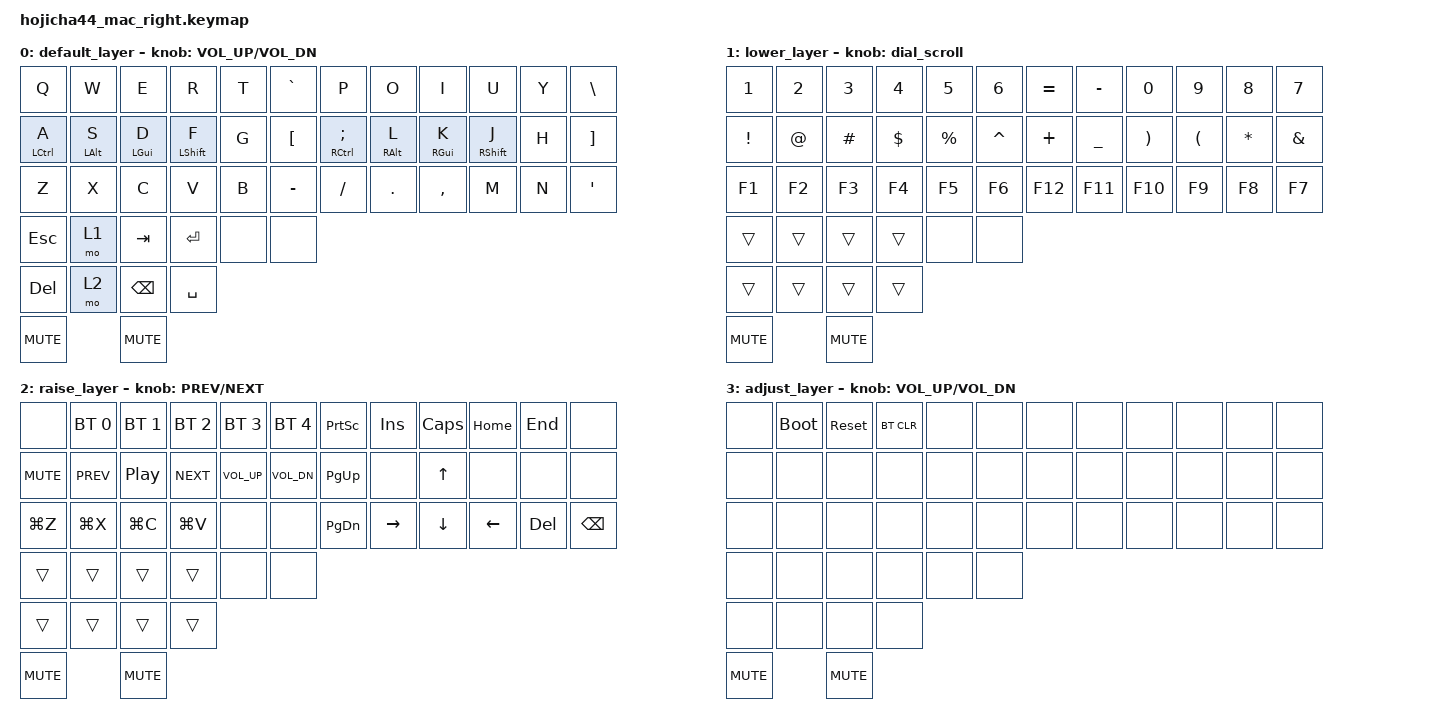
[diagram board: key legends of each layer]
/* Hojicha44 keymap — mac_right variant.
 * GENERATED by config/gen_keymap.py from spec/layout.yaml — DO NOT EDIT.
 *   mod order : Ctrl Alt GUI Shift (macOS: Cmd on the middle)
 *   space     : right thumb (the other carries Enter)
 * Regenerate: python3 config/gen_keymap.py            (all variants)
 * Switch   : python3 config/gen_keymap.py --use mac_right
 * Design   : spec/keymap.md (the narrative for every table below).
 */
#include <behaviors.dtsi>
#include <dt-bindings/zmk/keys.h>
#include <dt-bindings/zmk/bt.h>
#include <dt-bindings/zmk/pointing.h>

/ {
    /* Home-row mods, ZMK's documented "timeless" recipe: balanced flavor,
     * require-prior-idle (fast rolls resolve to taps), a long tapping term
     * (the POSITIONAL triggers decide, not the timer) and positional
     * hold-trigger-key-positions listing the OTHER hand's keys, with
     * hold-trigger-on-release so same-hand modifier combos still work.
     * One behavior per hand so the trigger lists can differ. */
    behaviors {
        dial_scroll: dial_scroll {
            compatible = "zmk,behavior-sensor-rotate";
            #sensor-binding-cells = <0>;
            // 100 wheel units/s at a 16 ms tick gives a whole event.
            tap-ms = <25>;
            bindings = <&msc MOVE_Y(100)>, <&msc MOVE_Y(-100)>;
        };
        hml: home_row_mod_left {
            compatible = "zmk,behavior-hold-tap";
            #binding-cells = <2>;
            flavor = "balanced";
            require-prior-idle-ms = <150>;
            tapping-term-ms = <280>;
            quick-tap-ms = <175>;
            bindings = <&kp>, <&kp>;
            hold-trigger-key-positions = <6 7 8 9 10 11 18 19 20 21 22 23 30 31 32 33 34 35 42 43 44 45>;
            hold-trigger-on-release;
        };
        hmr: home_row_mod_right {
            compatible = "zmk,behavior-hold-tap";
            #binding-cells = <2>;
            flavor = "balanced";
            require-prior-idle-ms = <150>;
            tapping-term-ms = <280>;
            quick-tap-ms = <175>;
            bindings = <&kp>, <&kp>;
            hold-trigger-key-positions = <0 1 2 3 4 5 12 13 14 15 16 17 24 25 26 27 28 29 36 37 38 39>;
            hold-trigger-on-release;
        };
    };

    /* L1 + L2 held together -> Adjust (ZMK conditional layers; this is
     * the "Fn chord" the v1 layout spec called for). */
    conditional_layers {
        compatible = "zmk,conditional-layers";
        adjust_cond {
            if-layers = <1 2>;
            then-layer = <3>;
        };
    };

    keymap {
        compatible = "zmk,keymap";
        label = "Hojicha44";

        default_layer {
            bindings = <
                &kp Q &kp W &kp E &kp R &kp T &kp GRAVE &kp P &kp O &kp I &kp U &kp Y &kp BSLH
                &hml LCTRL A &hml LALT S &hml LGUI D &hml LSHIFT F &kp G &kp LBKT &hmr RCTRL SCLN &hmr RALT L &hmr RGUI K &hmr RSHIFT J &kp H &kp RBKT
                &kp Z &kp X &kp C &kp V &kp B &kp MINUS &kp SLASH &kp DOT &kp COMMA &kp M &kp N &kp SQT
                &kp ESC &mo 1 &kp TAB &kp RET &none &none
                &kp DEL &mo 2 &kp BSPC &kp SPACE
                &kp C_MUTE &kp C_MUTE
            >;
            sensor-bindings = <&inc_dec_kp C_VOL_UP C_VOL_DN>;
        };
        lower_layer {
            bindings = <
                &kp N1 &kp N2 &kp N3 &kp N4 &kp N5 &kp N6 &kp EQUAL &kp MINUS &kp N0 &kp N9 &kp N8 &kp N7
                &kp EXCL &kp AT &kp HASH &kp DLLR &kp PRCNT &kp CARET &kp PLUS &kp UNDERSCORE &kp RPAR &kp LPAR &kp ASTRK &kp AMPS
                &kp F1 &kp F2 &kp F3 &kp F4 &kp F5 &kp F6 &kp F12 &kp F11 &kp F10 &kp F9 &kp F8 &kp F7
                &trans &trans &trans &trans &none &none
                &trans &trans &trans &trans
                &kp C_MUTE &kp C_MUTE
            >;
            sensor-bindings = <&dial_scroll>;
        };
        raise_layer {
            bindings = <
                &none &bt BT_SEL 0 &bt BT_SEL 1 &bt BT_SEL 2 &bt BT_SEL 3 &bt BT_SEL 4 &kp PSCRN &kp INS &kp CLCK &kp HOME &kp END &none
                &kp C_MUTE &kp C_PREV &kp C_PP &kp C_NEXT &kp C_VOL_UP &kp C_VOL_DN &kp PG_UP &none &kp UP &none &none &none
                &kp LG(Z) &kp LG(X) &kp LG(C) &kp LG(V) &none &none &kp PG_DN &kp RIGHT &kp DOWN &kp LEFT &kp DEL &kp BSPC
                &trans &trans &trans &trans &none &none
                &trans &trans &trans &trans
                &kp C_MUTE &kp C_MUTE
            >;
            sensor-bindings = <&inc_dec_kp C_PREV C_NEXT>;
        };
        adjust_layer {
            bindings = <
                &none &bootloader &sys_reset &bt BT_CLR &none &none &none &none &none &none &none &none
                &none &none &none &none &none &none &none &none &none &none &none &none
                &none &none &none &none &none &none &none &none &none &none &none &none
                &none &none &none &none &none &none
                &none &none &none &none
                &kp C_MUTE &kp C_MUTE
            >;
            sensor-bindings = <&inc_dec_kp C_VOL_UP C_VOL_DN>;
        };
    };

};
